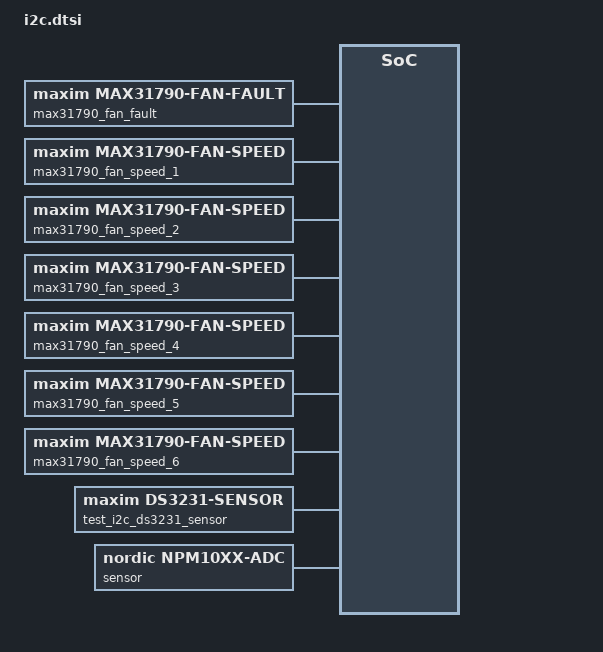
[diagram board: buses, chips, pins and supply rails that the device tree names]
/*
 * Copyright (c) 2020, Linaro Ltd.
 *
 * SPDX-License-Identifier: Apache-2.0
 *
 * Application overlay for i2c devices
 */

#include <zephyr/dt-bindings/sensor/lsm6dsv16x.h>
#include <zephyr/dt-bindings/sensor/lsm6dsv32x.h>
#include <zephyr/dt-bindings/sensor/lsm6dsv320x.h>
#include <zephyr/dt-bindings/sensor/lsm6dsv80x.h>
#include <zephyr/dt-bindings/sensor/ism6hg256x.h>
#include <zephyr/dt-bindings/sensor/lsm6dso.h>
#include <zephyr/dt-bindings/sensor/lsm6dso16is.h>
#include <zephyr/dt-bindings/sensor/lps22hh.h>
#include <zephyr/dt-bindings/sensor/lps2xdf.h>
#include <zephyr/dt-bindings/sensor/lis2ds12.h>
#include <zephyr/dt-bindings/sensor/lis2dw12.h>
#include <zephyr/dt-bindings/sensor/ism330dhcx.h>
#include <zephyr/dt-bindings/sensor/iis2dlpc.h>
#include <zephyr/dt-bindings/sensor/lis2dh.h>
#include <zephyr/dt-bindings/sensor/iis2iclx.h>
#include <zephyr/dt-bindings/sensor/lis2du12.h>
#include <zephyr/dt-bindings/sensor/lis2dux12.h>
#include <zephyr/dt-bindings/sensor/lis2de12.h>
#include <zephyr/dt-bindings/sensor/pac194x.h>
#include <zephyr/dt-bindings/sensor/tmag5273.h>
#include <zephyr/dt-bindings/sensor/stts22h.h>
#include <zephyr/dt-bindings/sensor/ina226.h>
#include <zephyr/dt-bindings/sensor/apds9253.h>
#include <zephyr/dt-bindings/sensor/tmp11x.h>
#include <zephyr/dt-bindings/sensor/tmp114.h>
#include <zephyr/dt-bindings/sensor/icm566xx.h>

/*
 * Devices with an emulator must have a unique, non-zero address, as the
 * I2C and SPI emulators route transfers by address. Use address 0 for
 * all other devices.
 */

test_i2c_adt7420: adt7420@48 {
	compatible = "adi,adt7420";
	reg = <0x48>;
	int-gpios = <&test_gpio 0 0>;
};

test_i2c_adxl345: adxl345@0 {
	compatible = "adi,adxl345";
	reg = <0x0>;
	int1-gpios = <&test_gpio 0 0>;
	fifo-watermark = <1>;
};

test_i2c_adxl372: adxl372@0 {
	compatible = "adi,adxl372";
	reg = <0x0>;
	int1-gpios = <&test_gpio 0 0>;
};

test_i2c_ccs811: ccs811@0 {
	compatible = "ams,ccs811";
	reg = <0x0>;
	wake-gpios = <&test_gpio 0 0>;
	reset-gpios = <&test_gpio 0 0>;
	irq-gpios = <&test_gpio 0 0>;
};

test_i2c_ens210: ens210@0 {
	compatible = "ams,ens210";
	reg = <0x0>;
};

test_i2c_iaqcore: iaqcore@0 {
	compatible = "ams,iaqcore";
	reg = <0x0>;
};

test_i2c_bme280: bme280@0 {
	compatible = "bosch,bme280";
	reg = <0x0>;
};

test_i2c_apds9960: apds9960@0 {
	compatible = "avago,apds9960";
	reg = <0x0>;
	int-gpios = <&test_gpio 0 0>;
};

test_i2c_bma280: bma280@0 {
	compatible = "bosch,bma280";
	reg = <0x0>;
	int1-gpios = <&test_gpio 0 0>;
	/* is-bmc150; */
};

test_i2c_bmc150_magn: bmc150_magn@0 {
	compatible = "bosch,bmc150_magn";
	reg = <0x0>;
	drdy-gpios = <&test_gpio 0 0>;
};

test_i2c_ak8975: ak8975@0 {
	compatible = "asahi-kasei,ak8975";
	reg = <0x0>;
};

test_i2c_bme680: bme680@0 {
	compatible = "bosch,bme680";
	reg = <0x0>;
};

test_i2c_bmg160: bmg160@0 {
	compatible = "bosch,bmg160";
	reg = <0x0>;
	int-gpios = <&test_gpio 0 0>;
};

test_i2c_bmm150: bmm150@0 {
	compatible = "bosch,bmm150";
	reg = <0x0>;
	drdy-gpios = <&test_gpio 0 0>;
};

test_i2c_hmc5883l: hmc5883l@0 {
	compatible = "honeywell,hmc5883l";
	reg = <0x0>;
	int-gpios = <&test_gpio 0 0>;
};

test_i2c_hp206c: hp206c@0 {
	compatible = "hoperf,hp206c";
	reg = <0x0>;
};

test_i2c_th02: th02@0 {
	compatible = "hoperf,th02";
	reg = <0x0>;
};

test_i2c_mpu6050: mpu6050@0 {
	compatible = "invensense,mpu6050";
	reg = <0x0>;
	int-gpios = <&test_gpio 0 0>;
};

test_i2c_mpu9250: mpu9250@0 {
	compatible = "invensense,mpu9250";
	reg = <0x0>;
	irq-gpios = <&test_gpio 0 0>;
	gyro-sr-div = <10>;
	gyro-dlpf = <5>;
	gyro-fs = <250>;
	accel-fs = <2>;
	accel-dlpf = "5.05";
};

test_i2c_ina219: ina219@0 {
	compatible = "ti,ina219";
	reg = <0x0>;
	brng = <0>;
	pg = <0>;
	sadc = <13>;
	badc = <13>;
	shunt-milliohm = <100>;
	lsb-microamp = <10>;
};

test_i2c_isl29035: isl29035@0 {
	compatible = "isil,isl29035";
	reg = <0x0>;
	int-gpios = <&test_gpio 0 0>;
};

test_i2c_max30101: max30101@0 {
	compatible = "maxim,max30101";
	reg = <0x0>;
	acq-mode = "multi-led";
};

test_i2c_max44009: max44009@0 {
	compatible = "maxim,max44009";
	reg = <0x0>;
	int-gpios = <&test_gpio 0 0>;
};

test_i2c_ms5607: ms5607@0 {
	compatible = "meas,ms5607";
	reg = <0x0>;
};

test_i2c_ms5837_02ba: ms5837@0 {
	compatible = "meas,ms5837-02ba";
	reg = <0x0>;
	status = "okay";
};

test_i2c_jc42: jc42@0 {
	compatible = "jedec,jc-42.4-temp";
	reg = <0x0>;
	int-gpios = <&test_gpio 0 0>;
};

test_i2c_fxas21002: fxas21002@0 {
	compatible = "nxp,fxas21002";
	reg = <0x0>;
	int1-gpios = <&test_gpio 0 0>;
	int2-gpios = <&test_gpio 0 0>;
};

test_i2c_fxos8700: fxos8700@0 {
	compatible = "nxp,fxos8700";
	reg = <0x0>;
	reset-gpios = <&test_gpio 0 0>;
	int1-gpios = <&test_gpio 0 0>;
	int2-gpios = <&test_gpio 0 0>;
};

test_i2c_amg88xx: amg88xx@0 {
	compatible = "panasonic,amg88xx";
	reg = <0x0>;
	int-gpios = <&test_gpio 0 0>;
};

test_i2c_sx9500: sx9500@0 {
	compatible = "semtech,sx9500";
	reg = <0x0>;
	int-gpios = <&test_gpio 0 0>;
};

test_i2c_sgp40: sgp40@0 {
	compatible = "sensirion,sgp40";
	reg = <0x0>;
	enable-selftest;
};

test_i2c_sht3xd: sht3xd@0 {
	compatible = "sensirion,sht3xd";
	reg = <0x0>;
	alert-gpios = <&test_gpio 0 0>;
};

test_i2c_sht4xd: sht4x@0 {
	compatible = "sensirion,sht4x";
	reg = <0x0>;
	repeatability = <2>;
};

test_i2c_shtc3: shtc3@0 {
	compatible = "sensirion,shtc3", "sensirion,shtcx";
	reg = <0x0>;
	measure-mode = "normal";
	clock-stretching;
};

test_i2c_si7006: si7006@0 {
	compatible = "silabs,si7006";
	reg = <0x0>;
};

test_i2c_si7055: si7055@0 {
	compatible = "silabs,si7055";
	reg = <0x0>;
};

test_i2c_si7060: si7060@0 {
	compatible = "silabs,si7060";
	reg = <0x0>;
};

test_i2c_si7210: si7010@0 {
	compatible = "silabs,si7210";
	reg = <0x0>;
};

test_i2c_hts221: hts221@0 {
	compatible = "st,hts221";
	reg = <0x0>;
	drdy-gpios = <&test_gpio 0 0>;
};

test_i2c_iis2dlpc: iis2dlpc@0 {
	compatible = "st,iis2dlpc";
	reg = <0x0>;
	drdy-gpios = <&test_gpio 0 0>;
	tap-mode = <IIS2DLPC_DT_SINGLE_DOUBLE_TAP>;
	power-mode = <IIS2DLPC_DT_HP_MODE>;
};

test_i2c_iis2mdc: iis2mdc@0 {
	compatible = "st,iis2mdc";
	reg = <0x0>;
	drdy-gpios = <&test_gpio 0 0>;
};

test_i2c_ism330dhcx: ism330dhcx@0 {
	compatible = "st,ism330dhcx";
	reg = <0x0>;
	drdy-gpios = <&test_gpio 0 0>;
	accel-odr = <ISM330DHCX_DT_ODR_104Hz>;
	gyro-odr = <ISM330DHCX_DT_ODR_104Hz>;
};

test_i2c_lis2dh: lis2dh@0 {
	compatible = "st,lis2dh";
	reg = <0x0>;
	irq-gpios = <&test_gpio 0 0>;
	/* disconnect-sdo-sa0-pull-up; */
	int1-gpio-config = <LIS2DH_DT_GPIO_INT_LEVEL_LOW>;
	int2-gpio-config = <LIS2DH_DT_GPIO_INT_LEVEL_LOW>;
	anym-mode = <LIS2DH_DT_ANYM_6D_POSITION>;
};

test_i2c_lis2dh12: lis2dh12@0 {
	compatible = "st,lis2dh12";
	reg = <0x0>;
	irq-gpios = <&test_gpio 0 0>;
	status = "disabled";
};

test_i2c_lis2ds12: lis2ds12@0 {
	compatible = "st,lis2ds12";
	reg = <0x0>;
	irq-gpios = <&test_gpio 0 0>;
	power-mode = <LIS2DS12_DT_LOW_POWER>;
	odr = <LIS2DS12_DT_ODR_12Hz5>;
};

test_i2c_lis2dw12: lis2dw12@0 {
	compatible = "st,lis2dw12";
	reg = <0x0>;
	irq-gpios = <&test_gpio 0 0>;
	wakeup-duration = <LIS2DW12_DT_WAKEUP_4_ODR>;
	ff-threshold = <LIS2DW12_DT_FF_THRESHOLD_500_mg>;
	tap-mode = <LIS2DW12_DT_SINGLE_DOUBLE_TAP>;
	power-mode = <LIS2DW12_DT_HP_MODE>;
	bw-filt = <LIS2DW12_DT_FILTER_BW_ODR_DIV_2>;
};

test_i2c_lis2mdl: lis2mdl@0 {
	compatible = "st,lis2mdl";
	reg = <0x0>;
	irq-gpios = <&test_gpio 0 0>;
};

test_i2c_lis3dh: lis3dh@0 {
	compatible = "st,lis3dh";
	reg = <0x0>;
	irq-gpios = <&test_gpio 0 0>;
	status = "disabled";
};

test_i2c_lis3mdl_magn: lis3mdl-magn@0 {
	compatible = "st,lis3mdl-magn";
	reg = <0x0>;
	irq-gpios = <&test_gpio 0 0>;
};

test_i2c_lps22hb_press: lps22hb-press@0 {
	compatible = "st,lps22hb-press";
	reg = <0x0>;
};

test_i2c_lps22hh: lps22hh@0 {
	compatible = "st,lps22hh";
	reg = <0x0>;
	drdy-gpios = <&test_gpio 0 0>;
	odr = <LPS22HH_DT_ODR_200HZ>;
};

test_i2c_lps25hb_press: lps25hb-press@0 {
	compatible = "st,lps25hb-press";
	reg = <0x0>;
};

test_i2c_lsm303agr_accel: lsm303agr-accel@0 {
	compatible = "st,lsm303agr-accel";
	reg = <0x0>;
	irq-gpios = <&test_gpio 0 0>;
	/* disconnect-sdo-sa0-pull-up; */
	status = "disabled";
};

test_i2c_lsm303dlhc_accel: lsm303dlhc-accel@0 {
	compatible = "st,lsm303dlhc-accel";
	reg = <0x0>;
	irq-gpios = <&test_gpio 0 0>;
	/* disconnect-sdo-sa0-pull-up; */
	status = "disabled";
};

test_i2c_lsm303dlhc_magn: lsm303dlhc-magn@0 {
	compatible = "st,lsm303dlhc-magn";
	reg = <0x0>;
};

test_i2c_lsm6ds0: lsm6ds0@0 {
	compatible = "st,lsm6ds0";
	reg = <0x0>;
};

test_i2c_lsm6dsl: lsm6dsl@0 {
	compatible = "st,lsm6dsl";
	reg = <0x0>;
	irq-gpios = <&test_gpio 0 0>;
};

test_i2c_lsm6dso: lsm6dso@0 {
	compatible = "st,lsm6dso";
	reg = <0x0>;
	irq-gpios = <&test_gpio 0 (GPIO_ACTIVE_LOW | GPIO_PULL_UP)>;
	int-open-drain;
	accel-pm = <LSM6DSO_DT_XL_ULP_MODE>;
	accel-range = <LSM6DSO_DT_FS_8G>;
	accel-odr = <LSM6DSO_DT_ODR_1Hz6>;
	gyro-pm = <LSM6DSO_DT_GY_NORMAL_MODE>;
	gyro-range = <LSM6DSO_DT_FS_2000DPS>;
	gyro-odr = <LSM6DSO_DT_ODR_6667Hz>;
};

test_i2c_lsm9ds0_gyro: lsm9ds0-gyro@0 {
	compatible = "st,lsm9ds0-gyro";
	reg = <0x0>;
	irq-gpios = <&test_gpio 0 0>;
};

test_i2c_lsm9ds0_mfd: lsm9ds0-mfd@0 {
	compatible = "st,lsm9ds0-mfd";
	reg = <0x0>;
	irq-gpios = <&test_gpio 0 0>;
};

test_i2c_stts751: stts751@0 {
	compatible = "st,stts751";
	reg = <0x0>;
	drdy-gpios = <&test_gpio 0 0>;
};

test_i2c_vl53l0x: vl53l0x@0 {
	compatible = "st,vl53l0x";
	reg = <0x0>;
	xshut-gpios = <&test_gpio 0 0>;
};

test_i2c_hdc: hdc@0 {
	compatible = "ti,hdc";
	reg = <0x0>;
	drdy-gpios = <&test_gpio 0 0>;
};

test_i2c_hdc2010: hdc2010@0 {
	compatible = "ti,hdc2010";
	reg = <0x0>;
};

test_i2c_hdc2021: hdc2021@0 {
	compatible = "ti,hdc2021";
	reg = <0x0>;
};

test_i2c_hdc2022: hdc2022@0 {
	compatible = "ti,hdc2022";
	reg = <0x0>;
};

test_i2c_hdc2080: hdc2080@0 {
	compatible = "ti,hdc2080";
	reg = <0x0>;
};

test_i2c_opt3001: opt3001@0 {
	compatible = "ti,opt3001";
	reg = <0x0>;
};

test_i2c_tmp007: tmp007@0 {
	compatible = "ti,tmp007";
	reg = <0x0>;
	int-gpios = <&test_gpio 0 0>;
};

test_i2c_tmp108: tmp108@0 {
	compatible = "ti,tmp108";
	reg = <0x0>;
	alert-gpios = <&test_gpio 0 0>;
};

test_i2c_tmp112: tmp112@0 {
	compatible = "ti,tmp112";
	reg = <0x0>;
};

test_i2c_tmp11x: tmp11x@0 {
	compatible = "ti,tmp11x";
	reg = <0x0>;
	odr = <TMP11X_DT_ODR_125_MS>;
	oversampling = <TMP11X_DT_OVERSAMPLING_32>;
	alert-gpios = <&test_gpio 0 0>;
};

test_i2c_bq274xx: bq27xx@0 {
	compatible = "ti,bq274xx";
	reg = <0x0>;
	design-voltage = <3700>;
	design-capacity = <1800>;
	taper-current = <45>;
	terminate-voltage = <3000>;
	int-gpios = <&test_gpio 0 0>;
};

test_i2c_mpr: mpr@0 {
	compatible = "honeywell,mpr";
	reg = <0x0>;
};

test_i2c_dps310: dps310@0 {
	compatible = "infineon,dps310";
	reg = <0x0>;
};

test_i2c_iis2dh: iis2dh@0 {
	compatible = "st,iis2dh";
	reg = <0x0>;
	drdy-gpios = <&test_gpio 0 0>;
};

test_i2c_iis2iclx: iis2iclx@0 {
	compatible = "st,iis2iclx";
	reg = <0x0>;
	drdy-gpios = <&test_gpio 0 0>;
	int-pin = <1>;
	range = <IIS2ICLX_DT_FS_2G>;
	odr = <IIS2ICLX_DT_ODR_833Hz>;
};

test_i2c_itds_2533020201601: wsen_itds_2533020201601@0 {
	compatible = "we,wsen-itds-2533020201601";
	reg = <0x0>;
	events-interrupt-gpios = <&test_gpio 0 0>;
	drdy-interrupt-gpios = <&test_gpio 0 0>;
	odr = "400";
	tap-threshold = <0>, <0>, <6>;
	tap-latency = <5>;
	tap-shock = <2>;
	tap-quiet = <1>;
	tap-mode = <1>;
	freefall-duration = <6>;
	freefall-threshold = <10>;
	delta-duration = <1>;
	delta-threshold = <4>;
	op-mode = "high-perf";
	power-mode = "normal";
};

test_i2c_max17055: max17055@0 {
	compatible = "maxim,max17055";
	reg = <0x0>;
	design-capacity = <1500>;
	design-voltage = <3860>;
	desired-charging-current = <2000>;
	desired-voltage = <4400>;
	i-chg-term = <100>;
	rsense-mohms = <5>;
	v-empty = <3300>;
};

test_i2c_max17262: max17262@0 {
	compatible = "maxim,max17262";
	reg = <0x0>;
	design-voltage = <3600>;
	desired-voltage = <3600>;
	desired-charging-current = <2000>;
	design-cap = <17000>;
	empty-voltage = <3300>;
	recovery-voltage = <3880>;
	charge-voltage = <3600>;
};

test_i2c_vcnl4040: vcnl4040@0 {
	compatible = "vishay,vcnl4040";
	reg = <0x0>;
	int-gpios = <&test_gpio 0 0>;
};

test_i2c_bmi160: bmi160@52 {
	compatible = "bosch,bmi160";
	reg = <0x52>;
	int-gpios = <&test_gpio 0 0>;
};

test_i2c_bmi270: bmi270@0 {
	compatible = "bosch,bmi270";
	reg = <0x0>;
	irq-gpios = <&test_gpio 0 0>;
};

test_i2c_fdc2x1x: fdc2x1x@0 {
	compatible = "ti,fdc2x1x";
	reg = <0x0>;
	intb-gpios = <&test_gpio 0 0>;
	sd-gpios = <&test_gpio 0 0>;
	deglitch = <5>;
	fref = <43360>;

	channel_0 {
		rcount = <7499>;
		settlecount = <48>;
		fref-divider = <1>;
		idrive = <10>;
		fin-sel = <2>;
		inductance = <18>;
	};
};

test_i2c_bmp388: bmp388@0 {
	compatible = "bosch,bmp388";
	reg = <0x0>;
	int-gpios = <&test_gpio 0 0>;
};

test_i2c_lm75: lm75@0 {
	compatible = "lm75";
	reg = <0x0>;
	int-gpios = <&test_gpio 0 0>;
};

test_i2c_ina230: ina230@0 {
	compatible = "ti,ina230";
	reg = <0x0>;
	current-lsb-microamps = <1000>;
	rshunt-micro-ohms = <1000>;
	mask = <0>;
	alert-limit = <0>;
	alert-gpios = <&test_gpio 0 0>;
};

test_i2c_lm77: lm77@0 {
	compatible = "lm77";
	reg = <0x0>;
	int-gpios = <&test_gpio 0 0>;
};

test_i2c_ina231: ina231@0 {
	compatible = "ti,ina230";
	reg = <0x0>;
	current-lsb-microamps = <1000>;
	rshunt-micro-ohms = <1000>;
	mask = <0>;
	alert-limit = <0>;
	alert-gpios = <&test_gpio 0 0>;
};

test_i2c_ina237: ina237@0 {
	compatible = "ti,ina237";
	reg = <0x0>;
	current-lsb-microamps = <1000>;
	rshunt-micro-ohms = <1000>;
	alert-config = <0>;
	alert-gpios = <&test_gpio 0 0>;
};

test_i2c_max31875: max31875@0 {
	compatible = "maxim,max31875";
	reg = <0x0>;
};

test_i2c_icp101xx: icp101xx@0 {
	compatible = "invensense,icp101xx";
	reg = <0x0>;
	mode = "normal";
};

test_i2c_as5600: as5600@0 {
	compatible = "ams,as5600";
	reg = <0x0>;
};

test_i2c_bh1750: bh1750@0 {
	compatible = "rohm,bh1750";
	reg = <0x0>;
};

test_i2c_akm09918c: akm09918c@5f {
	compatible = "asahi-kasei,akm09918c";
	reg = <0x5f>;
};

test_i2c_wsen_tids_2521020222501: wsen_tids_2521020222501@0 {
	compatible = "we,wsen-tids-2521020222501";
	reg = <0x0>;
	interrupt-gpios = <&test_gpio 0 0>;
	odr = <25>;
};

test_i2c_vl53l1x: vl53l1x@0 {
	compatible = "st,vl53l1x";
	reg = <0x0>;
	int-gpios = <&test_gpio 0 0>;
	xshut-gpios = <&test_gpio 0 0>;
};

test_i2c_tmd2620: tmd2620@0 {
	compatible = "ams,tmd2620";
	reg = <0x0>;
	int-gpios = <&test_gpio 0 0>;
	proximity-gain = <4>;
	proximity-pulse-length = <16>;
	proximity-pulse-count = <15>;
	proximity-high-threshold = <255>;
	proximity-low-threshold = <0>;
	proximity-led-drive-strength = <4>;
	proximity-interrupt-filter = <0>;
	wait-time-factor = <0>;
};

test_i2c_wsen_pads_2511020213301: wsen_pads_2511020213301@0 {
	compatible = "we,wsen-pads-2511020213301";
	reg = <0x0>;
	interrupt-gpios = <&test_gpio 0 0>;
	odr = <10>;
};

test_i2c_s11059: s11059@0 {
	compatible = "hamamatsu,s11059";
	reg = <0x0>;
	integration-time = <546000>;
};

test_i2c_wsen_pdus_25131308XXXXX: wsen_pdus_25131308XXXXX@0 {
	compatible = "we,wsen-pdus-25131308XXXXX";
	reg = <0x0>;
	sensor-type = <4>;
};

test_i2c_veml7700: veml7700@0 {
	compatible = "vishay,veml7700";
	reg = <0x0>;
	psm-mode = <0x03>;
};

test_i2c_ina3221: ina3221@0 {
	compatible = "ti,ina3221";
	reg = <0x0>;
	shunt-resistors = <1000 1000 1000>;
	enable-channel = <1 0 0>;
	conv-time-bus = <7>;
	conv-time-shunt = <7>;
	avg-mode = <2>;
};

test_i2c_lsm6dso16is: lsm6dso16is@0 {
	compatible = "st,lsm6dso16is";
	reg = <0x0>;
	irq-gpios = <&test_gpio 0 0>;
	accel-range = <LSM6DSO16IS_DT_FS_8G>;
	accel-odr = <LSM6DSO16IS_DT_ODR_104Hz_LP>;
	gyro-range = <LSM6DSO16IS_DT_FS_2000DPS>;
	gyro-odr = <LSM6DSO16IS_DT_ODR_104Hz_LP>;
};

test_i2c_lsm6dsv16x: lsm6dsv16x@0 {
	compatible = "st,lsm6dsv16x";
	reg = <0x0>;
	int1-gpios = <&test_gpio 0 0>;
	int2-gpios = <&test_gpio 0 0>;
	accel-range = <LSM6DSV16X_DT_FS_8G>;
	accel-odr = <LSM6DSVXXX_DT_ODR_AT_60Hz>;
	gyro-range = <LSM6DSV16X_DT_FS_2000DPS>;
	gyro-odr = <LSM6DSVXXX_DT_ODR_AT_60Hz>;
};

test_i2c_mcp9600: mcp9600@0 {
	compatible = "microchip,mcp9600";
	reg = <0x0>;
};

test_i2c_tcs3400: tcs3400@0 {
	compatible = "ams,tcs3400";
	reg = <0x0>;
	int-gpios = <&test_gpio 0 0>;
};

test_i2c_tcn75a: tcn75a@0 {
	compatible = "microchip,tcn75a";
	reg = <0x0>;
	alert-gpios = <&test_gpio 0 0>;
};

test_i2c_bmi08x_accel: bmi08x@0 {
	compatible = "bosch,bmi08x-accel";
	reg = <0x0>;
	int-gpios = <&test_gpio 0 0>;
	int1-map-io = <0x01>;
	int2-map-io = <0x00>;
	int1-conf-io = <0x0a>;
	int2-conf-io = <0x17>;
	accel-hz = "800";
	accel-fs = <4>;
	fifo-watermark = <1>;
};

test_i2c_bmi08x_gyro: bmi08x@1 {
	compatible = "bosch,bmi08x-gyro";
	reg = <0x1>;
	int-gpios = <&test_gpio 0 0>;
	int3-4-map-io = <0x01>;
	int3-4-conf-io = <0x01>;
	gyro-hz = "1000_116";
	gyro-fs = <1000>;
	fifo-watermark = <1>;
};

test_i2c_ist8310: ist8310@0 {
	compatible = "isentek,ist8310";
	reg = <0x0>;
	status = "okay";
};

test_i2c_f75303: f75303@70 {
	compatible = "fintek,f75303";
	reg = <0x70>;
};

test_i2c_tsl2540: tsl2540@0 {
	compatible = "ams,tsl2540";
	reg = <0x0>;
	int-gpios = <&test_gpio 0 0>;
};

test_i2c_adltc2990@72 {
	compatible = "adi,adltc2990";
	reg = <0x72>;
	measurement-mode = <7 3>;
	pins-v1-v2-current-resistor = <1>;
	pin-v1-voltage-divider-resistors = <100 10>;
	pin-v2-voltage-divider-resistors = <100 10>;
	pin-v3-voltage-divider-resistors = <100 100>;
	pin-v4-voltage-divider-resistors = <0 1>;
	status = "okay";
};

test_i2c_hm330x@0 {
	compatible = "seeed,hm330x";
	reg = <0x0>;
	status = "okay";
};

test_i2c_amd_sb_tsi: amd_sb_tsi@74 {
	compatible = "amd,sb-tsi";
	reg = <0x74>;
};

test_i2c_mc3419: mc3419@0 {
	compatible = "memsic,mc3419";
	reg = <0x0>;
	int-gpios = <&test_gpio 0 0>;
};

test_i2c_ltrf216a0: ltrf216a@0 {
	compatible = "liteon,ltrf216a";
	reg = <0x0>;
};

test_i2c_adxl367: adxl367@0 {
	compatible = "adi,adxl367";
	reg = <0x0>;
	odr = <4>;
	int1-gpios = <&test_gpio 0 0>;
};

test_i2c_tsl2561: tsl2561@0 {
	compatible = "ams,tsl2561";
	reg = <0x0>;
};

test_i2c_lps22df: lps22df@0 {
	compatible = "st,lps22df";
	reg = <0x0>;
	drdy-gpios = <&test_gpio 0 0>;
	odr = <LPS2xDF_DT_ODR_10HZ>;
	lpf = <LPS2xDF_DT_LP_FILTER_ODR_4>;
	avg = <LPS2xDF_DT_AVG_128_SAMPLES>;
	status = "okay";
};

test_i2c_hs300x: hs300x@0 {
	compatible = "renesas,hs300x";
	reg = <0x0>;
};

test_i2c_lps28dfw: lps28dfw@0 {
	compatible = "st,lps28dfw";
	reg = <0x0>;
	drdy-gpios = <&test_gpio 0 0>;
	odr = <LPS2xDF_DT_ODR_10HZ>;
	lpf = <LPS2xDF_DT_LP_FILTER_ODR_4>;
	avg = <LPS2xDF_DT_AVG_128_SAMPLES>;
	fs = <LPS28DFW_DT_FS_MODE_1_1260>;
	status = "okay";
};

test_i2c_lis2du12: lis2du12@0 {
	compatible = "st,lis2du12";
	reg = <0x0>;
	int1-gpios = <&test_gpio 0 0>;
	int2-gpios = <&test_gpio 0 0>;
	accel-range = <LIS2DU12_DT_FS_16G>;
	accel-odr = <LIS2DU12_DT_ODR_AT_800Hz>;
};

test_i2c_bma4xx: bma4xx@7d {
	compatible = "bosch,bma4xx";
	reg = <0x7d>;
};

test_i2c_ags10: ags10@0 {
	compatible = "aosong,ags10";
	reg = <0x0>;
};

test_i2c_bmp581: bmp581@7f {
	compatible = "bosch,bmp581";
	reg = <0x7f>;
	int-gpios = <&test_gpio 0 0>;
};

test_i2c_lis2de12: lis2de12@0 {
	compatible = "st,lis2de12";
	reg = <0x0>;
	int1-gpios = <&test_gpio 0 0>;
	int2-gpios = <&test_gpio 0 0>;
	accel-range = <LIS2DE12_DT_FS_16G>;
	accel-odr = <LIS2DE12_DT_ODR_AT_100Hz>;
};

test_i2c_vishay_vcnl36825t: vcnl36825t@0 {
	compatible = "vishay,vcnl36825t";
	reg = <0x0>;

	proximity-it = "1";
	multi-pulse = <8>;

	low-power;

	int-gpios = <&test_gpio 0 0>;
};

test_i2c_tmag5273: tmag5273@0 {
	compatible = "ti,tmag5273";
	reg = <0x0>;
	int-gpios = <&test_gpio 15 1>;

	operation-mode = <TMAG5273_DT_OPER_MODE_CONTINUOUS>;
	angle-magnitude-axis = <TMAG5273_DT_ANGLE_MAG_XY>;
	status = "okay";
};

test_i2c_ens160: ens160@0 {
	compatible = "sciosense,ens160";
	reg = <0x0>;
	int-gpios = <&test_gpio 0 0>;
};

test_i2c_tsl2591: tsl2591@0 {
	compatible = "ams,tsl2591";
	reg = <0x0>;
	int-gpios = <&test_gpio 0 0>;
};

test_i2c_max31790: max31790@0 {
	compatible = "maxim,max31790";
	reg = <0x0>;
	status = "okay";

	max31790_fan_fault: max31790_fan_fault {
		compatible = "maxim,max31790-fan-fault";
		status = "okay";
	};

	max31790_fan_speed_1: max31790_fan_speed_1 {
		compatible = "maxim,max31790-fan-speed";
		channel = <1>;
		status = "okay";
	};

	max31790_fan_speed_2: max31790_fan_speed_2 {
		compatible = "maxim,max31790-fan-speed";
		channel = <2>;
		status = "okay";
	};

	max31790_fan_speed_3: max31790_fan_speed_3 {
		compatible = "maxim,max31790-fan-speed";
		channel = <3>;
		status = "okay";
	};

	max31790_fan_speed_4: max31790_fan_speed_4 {
		compatible = "maxim,max31790-fan-speed";
		channel = <4>;
		status = "okay";
	};

	max31790_fan_speed_5: max31790_fan_speed_5 {
		compatible = "maxim,max31790-fan-speed";
		channel = <5>;
		status = "okay";
	};

	max31790_fan_speed_6: max31790_fan_speed_6 {
		compatible = "maxim,max31790-fan-speed";
		channel = <6>;
		status = "okay";
	};
};

test_i2c_stts22h: stts22h@0 {
	compatible = "st,stts22h";
	reg = <0x0>;
	int-gpios = <&test_gpio 0 0>;
	sampling-rate = <STTS22H_100Hz>;
};

test_i2c_dht20: dht20@0 {
	compatible = "aosong,dht20";
	reg = <0x0>;
	status = "okay";
};

test_i2c_aht20: aht20@0 {
	compatible = "aosong,aht20";
	reg = <0x0>;
	status = "okay";
};

test_i2c_am2301b: am2301b@0 {
	compatible = "aosong,am2301b";
	reg = <0x0>;
};

test_i2c_lis2dux12: lis2dux12@0 {
	compatible = "st,lis2dux12";
	reg = <0x0>;
	int1-gpios = <&test_gpio 0 0>;
	int2-gpios = <&test_gpio 0 0>;
	range = <LIS2DUX12_DT_FS_16G>;
	odr = <LIS2DUX12_DT_ODR_100Hz>;
	power-mode = <LIS2DUX12_OPER_MODE_HIGH_PERFORMANCE>;
	status = "okay";
};

test_i2c_iis328dq: iis328dq@0 {
	compatible = "st,iis328dq";
	reg = <0x0>;
	int2-gpios = <&test_gpio 0 0>;
	threshold-int-pad = <2>;
	status = "okay";
};

test_i2c_nct75: test_i2c_nct75@0 {
	compatible = "onnn,nct75";
	reg = <0x0>;
	status = "okay";
};

test_i2c_tmp114: tmp114@0 {
	compatible = "ti,tmp114";
	reg = <0x0>;
	odr = <TMP114_DT_ODR_250_MS>;
};

test_i2c_ina226: ina226@0 {
	compatible = "ti,ina226";
	reg = <0x0>;
	current-lsb-microamps = <5000>;
	rshunt-micro-ohms = <500>;
};

test_i2c_shtc1: shtc1@0 {
	compatible = "sensirion,shtc1", "sensirion,shtcx";
	reg = <0x0>;
	measure-mode = "low-power";
	clock-stretching;
};

test_i2c_lm95234: lm95234@0 {
	compatible = "national,lm95234";
	reg = <0x0>;
	status = "okay";
};

test_i2c_sht21: sht21@0 {
	compatible = "sensirion,sht21";
	reg = <0x0>;
};

test_i2c_lsm9ds1: lsm9ds1@0 {
	compatible = "st,lsm9ds1";
	reg = <0x0>;
};

test_i2c_icm42670p: icm42670p@0 {
	compatible = "invensense,icm42670p";
	reg = <0x0>;
	int-gpios = <&test_gpio 0 0>;
	accel-hz = <800>;
	accel-fs = <16>;
	gyro-hz = <800>;
	gyro-fs = <2000>;
};

test_i2c_fxls8974: fxls8974@0 {
	compatible = "nxp,fxls8974";
	reg = <0x0>;
	reset-gpios = <&test_gpio 0 0>;
	int1-gpios = <&test_gpio 0 0>;
	int2-gpios = <&test_gpio 0 0>;
};

test_i2c_bmp180: bmp180@0 {
	compatible = "bosch,bmp180";
	reg = <0x0>;
	osr-press = <0x01>;
};

test_i2c_apds9253: apds9253@0 {
	compatible = "avago,apds9253";
	reg = <0x0>;
	int-gpios = <&test_gpio 0 0>;
	gain = <APDS9253_GAIN_RANGE_1>;
	rate = <APDS9253_MEASUREMENT_RATE_50MS>;
	resolution = <APDS9253_RESOLUTION_16BIT_25MS>;
};

test_i2c_mmc56x3: mmc56x3@0 {
	compatible = "memsic,mmc56x3";
	reg = <0x0>;
	magn-odr = <0>;
	auto-self-reset;
};

test_i2c_tmp1075: tmp1075@0 {
	compatible = "ti,tmp1075";
	reg = <0x0>;
	alert-gpios = <&test_gpio 0 0>;
	conversion-rate = <220000>;
	lower-threshold = <27>;
	upper-threshold = <28>;
	consecutive-fault-measurements = <4>;
	interrupt-mode;
};

test_i2c_bmp390: bmp390@0 {
	compatible = "bosch,bmp390";
	reg = <0x0>;
	int-gpios = <&test_gpio 0 0>;
	odr = "12.5";
	osr-press = <8>;
	osr-temp = <1>;
	iir-filter = <3>;
};

apds_9306: apds9306@0 {
	compatible = "avago,apds9306";
	reg = <0x0>;
	gain = <1>;
	resolution = <13>;
	measurement-period = <2000>;
	status = "okay";
};

test_i2c_wsen_hids_2525020210002: wsen_hids_2525020210002@0 {
	compatible = "we,wsen-hids-2525020210002";
	reg = <0x0>;
	precision = "high";
};

test_i2c_ilps22qs: ilps22qs@0 {
	compatible = "st,ilps22qs";
	reg = <0x0>;
	odr = <LPS2xDF_DT_ODR_10HZ>;
	lpf = <LPS2xDF_DT_LP_FILTER_ODR_4>;
	avg = <LPS2xDF_DT_AVG_128_SAMPLES>;
	fs = <ILPS22QS_DT_FS_MODE_1_1260>;
	status = "okay";
};

test_i2c_sts4x: sts4x@0 {
	compatible = "sensirion,sts4x";
	reg = <0x0>;
	repeatability = <2>;
};

test_i2c_scd41: scd41@0 {
	compatible = "sensirion,scd41";
	reg = <0x0>;
	mode = <0>;
};

test_i2c_npm2100: npm2100@0 {
	compatible = "nordic,npm2100";
	reg = <0x0>;

	vbat {
		compatible = "nordic,npm2100-vbat";
	};
};

test_i2c_mlx90394: mlx90394@0 {
	compatible = "melexis,mlx90394";
	reg = <0x0>;
	status = "okay";
};

test_i2c_scd40: scd40@0 {
	compatible = "sensirion,scd40";
	reg = <0x0>;
};

test_i2c_ina236: ina236@0 {
	compatible = "ti,ina236";
	reg = <0x0>;
	current-lsb-microamps = <1000>;
	rshunt-micro-ohms = <1000>;
	mask = <0>;
	alert-limit = <0>;
	alert-gpios = <&test_gpio 0 0>;
};

test_i2c_as6212: as6212@0 {
	compatible = "ams,as6212";
	reg = <0x0>;
};

test_i2c_p3t1755: p3t1755@0 {
	compatible = "nxp,p3t1755";
	reg = <0x0>;
};

test_i2c_lsm6dso32: lsm6dso32@0 {
	compatible = "st,lsm6dso32";
	reg = <0x0>;
	irq-gpios = <&test_gpio 0 0>;
	accel-pm = <LSM6DSO_DT_XL_ULP_MODE>;
	accel-range = <LSM6DSO_DT_FS_8G>;
	accel-odr = <LSM6DSO_DT_ODR_1Hz6>;
	gyro-pm = <LSM6DSO_DT_GY_NORMAL_MODE>;
	gyro-range = <LSM6DSO_DT_FS_2000DPS>;
	gyro-odr = <LSM6DSO_DT_ODR_6667Hz>;
};

test_i2c_hs400x: hs400x@0 {
	compatible = "renesas,hs400x";
	reg = <0x0>;
};

test_i2c_lis2duxs12: lis2duxs12@0 {
	compatible = "st,lis2duxs12";
	reg = <0x0>;
	int1-gpios = <&test_gpio 0 0>;
	int2-gpios = <&test_gpio 0 0>;
	range = <LIS2DUX12_DT_FS_16G>;
	odr = <LIS2DUX12_DT_ODR_100Hz>;
	power-mode = <LIS2DUX12_OPER_MODE_HIGH_PERFORMANCE>;
	status = "okay";
};

test_i2c_tmag3001: tmag3001@0 {
	compatible = "ti,tmag3001";
	reg = <0x0>;
	int-gpios = <&test_gpio 15 1>;
	operation-mode = <TMAG5273_DT_OPER_MODE_CONTINUOUS>;
	angle-magnitude-axis = <TMAG5273_DT_ANGLE_MAG_XY>;
	status = "okay";
};

test_i2c_tmp435: tmp435@0 {
	compatible = "ti,tmp435";
	reg = <0x0>;
	external-channel;
	resistance-correction;
	beta-compensation = <0x0f>;
};

test_i2c_xbr818: xbr818@0 {
	compatible = "phosense,xbr818";
	reg = <0x0>;
	int-gpios = <&test_gpio 0 0>;
	i2c-en-gpios = <&test_gpio 0 0>;
};

test_i2c_veml6031: veml6031@0 {
	compatible = "vishay,veml6031";
	reg = <0x0>;
};

test_i2c_bmm350: bmm350@14 {
	compatible = "bosch,bmm350";
	reg = <0x14>;
	drdy-gpios = <&test_gpio 0 0>;
};

test_i2c_ltr329: ltr329@0 {
	compatible = "liteon,ltr329";
	reg = <0x0>;
};

test_i2c_ms5837_30ba: ms5837@1 {
	compatible = "meas,ms5837-30ba";
	reg = <0x1>;
	status = "okay";
};

test_i2c_icp201xx: icp201xx@0 {
	compatible = "invensense,icp201xx";
	reg = <0x0>;
	int-gpios = <&test_gpio 0 0>;
	op-mode = "mode0";
	drive-strength = "current_12mA_1_8V";
};

test_i2c_paj7620: paj7620@0 {
	compatible = "pixart,paj7620";
	reg = <0x0>;
	int-gpios = <&test_gpio 0 0>;
};

test_i2c_icm45686: icm45686@0 {
	compatible = "invensense,icm45686";
	reg = <0x0>;
	int-gpios = <&test_gpio 0 0>;
};

test_i2c_rm3100: rm3100@0 {
	compatible = "pni,rm3100";
	reg = <0x0>;
	int-gpios = <&test_gpio 0 0>;
};

test_i2c_bh1790: bh1790@0 {
	compatible = "rohm,bh1790";
	reg = <0x0>;
};

test_i2c_bh1730: bh1730@0 {
	compatible = "rohm,bh1730";
	reg = <0x0>;
};

test_i2c_npm1300: npm1300@0 {
	compatible = "nordic,npm1300";
	reg = <0x0>;

	charger {
		compatible = "nordic,npm1300-charger";
		vbus-limit-microamp = <1000000>;
		thermistor-ohms = <10000>;
		thermistor-beta = <3380>;
		term-microvolt = <4150000>;
		current-microamp = <150000>;
		dischg-limit-microamp = <1000000>;
	};
};

test_i2c_npm1304: npm1304@0 {
	compatible = "nordic,npm1304";
	reg = <0x0>;

	charger {
		compatible = "nordic,npm1304-charger";
		vbus-limit-microamp = <1000000>;
		thermistor-ohms = <10000>;
		thermistor-beta = <3380>;
		term-microvolt = <4150000>;
		current-microamp = <10000>;
	};
};

test_i2c_ds3231: ds3231@0 {
	compatible = "maxim,ds3231-mfd";
	reg = <0x0>;

	test_i2c_ds3231_sensor: ds3231_sensor {
		compatible = "maxim,ds3231-sensor";
	};
};

test_i2c_adxl366: adxl366@0 {
	compatible = "adi,adxl366";
	reg = <0x0>;
	int1-gpios = <&test_gpio 0 0>;
	odr = <4>;
	fifo-mode = <0>;
};

test_i2c_lsm9ds1_mag: lsm9ds1_mag@0 {
	compatible = "st,lsm9ds1_mag";
	reg = <0x0>;
};

test_i2c_mb7040: mb7040@0 {
	compatible = "maxbotix,mb7040";
	reg = <0x0>;
	status-gpios = <&test_gpio 0 0>;
};

test_i2c_wsen_isds_2536030320001: wsen_isds_2536030320001@0 {
	compatible = "we,wsen-isds-2536030320001";
	reg = <0x0>;
	accel-odr = "416";
	gyro-odr = "416";
	tap-threshold = <9>;
	tap-latency = <5>;
	tap-shock = <2>;
	tap-quiet = <1>;
	tap-mode = <1>;
	tap-axis-enable = <0 0 1>;
	events-interrupt-gpios = <&test_gpio 0 0>;
	drdy-interrupt-gpios = <&test_gpio 0 0>;
};

test_i2c_ina7xx: ina7xx@0 {
	compatible = "ti,ina7xx";
	reg = <0x0>;
	inatype = <2>;
	convdly = <0x80>;
	mode = <0xf>;
	vbusct = <5>;
	vsenct = <5>;
	tct = <5>;
	avg = <3>;
};

test_i2c_als31300: als31300@0 {
	compatible = "allegro,als31300";
	reg = <0x0>;
};

test_i2c_hdc302x: hdc302x@0 {
	compatible = "ti,hdc302x";
	reg = <0x0>;
	int-gpios = <&test_gpio 0 0>;
};

test_i2c_veml6046: veml6046@0 {
	compatible = "vishay,veml6046";
	reg = <0x0>;
};

test_i2c_wsen_pdms_25131308XXX05: wsen_pdms_25131308XXX05@0 {
	compatible = "we,wsen-pdms-25131308XXX05";
	reg = <0x0>;
	sensor-type = <4>;
};

test_i2c_ina232: ina232@0 {
	compatible = "ti,ina232";
	reg = <0x0>;
	current-lsb-microamps = <1000>;
	rshunt-micro-ohms = <1000>;
	mask = <0>;
	alert-limit = <0>;
	alert-gpios = <&test_gpio 0 0>;
};

test_rv3032: rv3032c7@0 {
	compatible = "microcrystal,rv3032-mfd";
	reg = <0x0>;
	int-gpios = <&test_gpio 0 0>;
	evi-gpios = <&test_gpio 0 0>;
	backup-switch-mode = "disabled";
	always-on;
	status = "okay";

	test_rv3032_temp: rv3032_temp {
		compatible = "microcrystal,rv3032-temp";
		low-temp = <40>;
		high-temp = <105>;
		status = "okay";
	};
};

test_i2c_as6221: as6221@0 {
	compatible = "ams,as6221";
	reg = <0x0>;
};

test_i2c_opt3004: opt3004@0 {
	compatible = "ti,opt3004";
	reg = <0x0>;
};

test_i2c_max30210: max30210@0 {
	compatible = "adi,max30210";
	reg = <0x0>;
	interrupt-gpios = <&test_gpio 0 0>;
};

test_i2c_lsm6dsv320x: lsm6dsv320x@0 {
	compatible = "st,lsm6dsv320x";
	reg = <0x0>;
	int1-gpios = <&test_gpio 0 0>;
	int2-gpios = <&test_gpio 0 0>;
	accel-range = <LSM6DSV320X_DT_FS_8G>;
	accel-odr = <LSM6DSVXXX_DT_ODR_AT_60Hz>;
	gyro-range = <LSM6DSV320X_DT_FS_2000DPS>;
	gyro-odr = <LSM6DSVXXX_DT_ODR_AT_60Hz>;
};

test_i2c_lsm6dsv80x: lsm6dsv80x@0 {
	compatible = "st,lsm6dsv80x";
	reg = <0x0>;
	int1-gpios = <&test_gpio 0 0>;
	int2-gpios = <&test_gpio 0 0>;
	accel-range = <LSM6DSV80X_DT_FS_8G>;
	accel-odr = <LSM6DSVXXX_DT_ODR_AT_60Hz>;
	gyro-range = <LSM6DSV80X_DT_FS_2000DPS>;
	gyro-odr = <LSM6DSVXXX_DT_ODR_AT_60Hz>;
};

test_i2c_ism6hg256x: ism6hg256x@0 {
	compatible = "st,ism6hg256x";
	reg = <0x0>;
	int1-gpios = <&test_gpio 0 0>;
	int2-gpios = <&test_gpio 0 0>;
	accel-range = <LSM6DSV80X_DT_FS_8G>;
	accel-odr = <LSM6DSVXXX_DT_ODR_AT_60Hz>;
	gyro-range = <LSM6DSV80X_DT_FS_2000DPS>;
	gyro-odr = <LSM6DSVXXX_DT_ODR_AT_60Hz>;
};

test_i2c_ltr553: ltr553@0 {
	compatible = "liteon,ltr553";
	reg = <0x0>;
};

test_i2c_stcc4: stcc4@0 {
	compatible = "sensirion,stcc4";
	reg = <0x0>;
	measurement-mode = <0>;
};

test_i2c_qmi8658a: qmi8658a@0 {
	compatible = "qst,qmi8658a";
	reg = <0x0>;
	int-gpios = <&test_gpio 0 0>;
};

test_i2c_npm10xx: npm10xx@0 {
	compatible = "nordic,npm10xx";
	reg = <0x0>;

	sensor {
		compatible = "nordic,npm10xx-adc";
	};
};

test_i2c_adxl355: adxl55@0 {
	compatible = "adi,adxl355";
	reg = <0x0>;
	int1-gpios = <&test_gpio 0 0>;
};

test_i2c_htu21d: htu21d@0 {
	compatible = "meas,htu21d";
	reg = <0x0>;
};

test_i2c_cht8315: cht8315@0 {
	compatible = "sensylink,cht8315";
	reg = <0x0>;
	alert-gpios = <&test_gpio 0 0>;
};

test_i2c_pac194x: pac194x@0 {
	compatible = "microchip,pac194x";
	reg = <0x0>;
	#address-cells = <1>;
	#size-cells = <0>;
	microchip,refresh-mode = <PAC_REFRESH_AUTO_NOWAIT>;
	status = "okay";

	channel@1 {
		reg = <0x1>;
		friendly-name = "CPU";
		microchip,shunt-resistor-micro-ohms = <4000>;
		microchip,vbus-mode = <PAC_UNIPOLAR_FSR>;
		microchip,vsense-mode = <PAC_UNIPOLAR_FSR>;
		microchip,accumulation-mode = <PAC_ACCUM_VPOWER>;
	};

	channel@2 {
		reg = <0x2>;
		friendly-name = "MEM";
		microchip,shunt-resistor-micro-ohms = <4000>;
		microchip,vbus-mode = <PAC_BIPOLAR_FSR>;
		microchip,vsense-mode = <PAC_BIPOLAR_HALF_FSR>;
		microchip,accumulation-mode = <PAC_ACCUM_VPOWER>;
	};

	channel@3 {
		reg = <0x3>;
		friendly-name = "GPU";
		microchip,shunt-resistor-micro-ohms = <4000>;
		microchip,vbus-mode = <PAC_UNIPOLAR_FSR>;
		microchip,vsense-mode = <PAC_UNIPOLAR_FSR>;
		microchip,accumulation-mode = <PAC_ACCUM_VBUS>;
	};

	channel@4 {
		reg = <0x4>;
		friendly-name = "NET";
		microchip,shunt-resistor-micro-ohms = <4000>;
		microchip,vbus-mode = <PAC_UNIPOLAR_FSR>;
		microchip,vsense-mode = <PAC_UNIPOLAR_FSR>;
		microchip,accumulation-mode = <PAC_ACCUM_VBUS>;
	};
};

test_i2c_fdc1004: fdc1004@0 {
	compatible = "ti,fdc1004";
	reg = <0x0>;
	measure-rate = <100>;
	ti,capdac = <0 0 0 0>;
};

test_i2c_htu31d: htu31d@0 {
	compatible = "meas,htu31d";
	reg = <0x0>;
};

test_i2c_ms5637: ms5637@0 {
	compatible = "meas,ms5637";
	reg = <0x0>;
};

test_i2c_max30102: max30102@0 {
	compatible = "maxim,max30102";
	reg = <0x0>;
	acq-mode = "multi-led";
};

test_i2c_tmp451: tmp451@0 {
	compatible = "ti,tmp451";
	reg = <0x0>;
	alert-gpios = <&test_gpio 0 0>;
};

test_i2c_icm40627: icm40627@0 {
	compatible = "invensense,icm40627";
	reg = <0x0>;
	int-gpios = <&test_gpio 0 0>;
	accel-hz = <100>;
	gyro-hz = <100>;
	accel-fs = <16>;
	gyro-fs = <2000>;
};

test_i2c_max30009: max30009@0 {
	compatible = "adi,max30009";
	reg = <0x0>;
	int-gpios = <&test_gpio 0 0>;
};

test_i2c_adxl313: adxl313@0 {
	compatible = "adi,adxl313";
	reg = <0x0>;
};

test_i2c_icm56686: icm56686@0 {
	compatible = "invensense,icm56686";
	reg = <0x0>;
	int-gpios = <&test_gpio 0 GPIO_ACTIVE_HIGH>;

	accel-fs = <0>;
	accel-odr = <13>;
	accel-lpf = <1>;
	accel-pwr-mode = <2>;

	gyro-fs = <0>;
	gyro-odr = <13>;
	gyro-lpf = <1>;
	gyro-pwr-mode = <2>;
};

test_i2c_ltc4286: ltc4286@40 {
	compatible = "adi,ltc4286";
	reg = <0x40>;
	reboot-gpios = <&test_gpio 0 0>;
	op-status-gpios = <&test_gpio 0 0>;
	oc-status-gpios = <&test_gpio 0 0>;
	comp-out-gpios = <&test_gpio 0 0>;
	fault-out-gpios = <&test_gpio 0 0>;
	power-good-gpios = <&test_gpio 0 0>;
	alert-gpios = <&test_gpio 0 0>;
};

test_i2c_xgzp68xxd: xgzp68xxd@0 {
	compatible = "cfsensor,xgzp68xxd";
	reg = <0x0>;
	k-value = <8>;
	status = "okay";
};

test_i2c_pmsa003i: pmsa003i@0 {
	compatible = "plantower,pmsa003i";
	reg = <0x0>;
	reset-gpios = <&test_gpio 0 GPIO_ACTIVE_LOW>;
	set-gpios = <&test_gpio 0 GPIO_ACTIVE_HIGH>;
};

test_i2c_tcs34725: tcs34725@0 {
	compatible = "ams,tcs34725";
	reg = <0x0>;
};

test_i2c_icm42605: icm42605@0 {
	compatible = "invensense,icm42605";
	reg = <0x0>;
	int-gpios = <&test_gpio 0 0>;
};

test_i2c_vl53l5cx: vl53l5cx@0 {
	compatible = "st,vl53l5cx";
	reg = <0x0>;
};

test_i2c_as7341: as7341@0 {
	compatible = "ams,as7341";
	reg = <0x0>;
};

test_i2c_cht8305: cht8305@0 {
	compatible = "sensylink,cht8305";
	reg = <0x0>;
	heater;
	disable-clock-stretching;
};

test_i2c_sts35: sts35@0 {
	compatible = "sensirion,sts35";
	reg = <0x0>;
};

test_i2c_tsl2522: tsl2522@0 {
	compatible = "ams,tsl2522";
	reg = <0x0>;
	measurement-time-steps = <180>;
	number-of-samples = <256>;
	int-gpios = <&test_gpio 0 0>;
};

test_i2c_stc31: stc31@0 {
	compatible = "sensirion,stc31";
	reg = <0x0>;
	binary-gas = <0x0001>;
};

test_i2c_adxl373: adxl373@0 {
	compatible = "adi,adxl373";
	reg = <0x0>;
	int1-gpios = <&test_gpio 0 0>;
};
